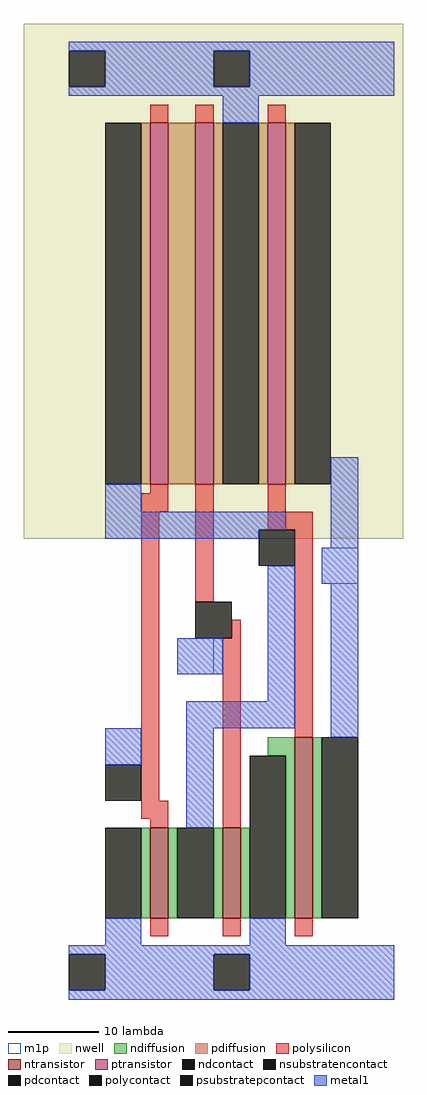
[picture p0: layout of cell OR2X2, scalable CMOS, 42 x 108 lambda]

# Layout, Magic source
magic
tech scmos
<< nwell >>
rect -7 48 35 105
<< ntransistor >>
rect 7 6 9 16
rect 15 6 17 16
rect 23 6 25 26
<< ptransistor >>
rect 7 54 9 94
rect 12 54 14 94
rect 20 54 22 94
<< ndiffusion >>
rect 20 24 23 26
rect 6 6 7 16
rect 9 6 10 16
rect 14 6 15 16
rect 17 6 18 16
rect 22 6 23 24
rect 25 6 26 26
<< pdiffusion >>
rect 6 54 7 94
rect 9 54 12 94
rect 14 54 15 94
rect 19 54 20 94
rect 22 54 23 94
<< ndcontact >>
rect 2 6 6 16
rect 10 6 14 16
rect 18 6 22 24
rect 26 6 30 26
<< pdcontact >>
rect 2 54 6 94
rect 15 54 19 94
rect 23 54 27 94
<< psubstratepcontact >>
rect -2 -2 2 2
rect 14 -2 18 2
<< nsubstratencontact >>
rect -2 98 2 102
rect 14 98 18 102
<< polysilicon >>
rect 7 94 9 96
rect 12 94 14 96
rect 20 94 22 96
rect 7 53 9 54
rect 6 51 9 53
rect 6 19 8 51
rect 12 41 14 54
rect 20 51 22 54
rect 20 49 25 51
rect 16 37 17 39
rect 6 17 9 19
rect 7 16 9 17
rect 15 16 17 37
rect 23 26 25 49
rect 7 4 9 6
rect 15 4 17 6
rect 23 4 25 6
<< polycontact >>
rect 2 19 6 23
rect 19 45 23 49
rect 12 37 16 41
<< metal1 >>
rect -2 102 34 103
rect 2 98 14 102
rect 18 98 34 102
rect -2 97 34 98
rect 15 94 19 97
rect 2 51 6 54
rect 2 49 22 51
rect 2 48 19 49
rect 27 47 30 57
rect 10 33 15 37
rect 20 30 23 45
rect 26 43 30 47
rect 11 27 23 30
rect 2 23 6 27
rect 11 16 14 27
rect 27 26 30 43
rect 2 3 6 6
rect 18 3 22 6
rect -2 2 34 3
rect 2 -2 14 2
rect 18 -2 34 2
rect -2 -3 34 -2
<< m1p >>
rect 26 43 30 47
rect 10 33 14 37
rect 2 23 6 27
<< labels >>
<< end >>
